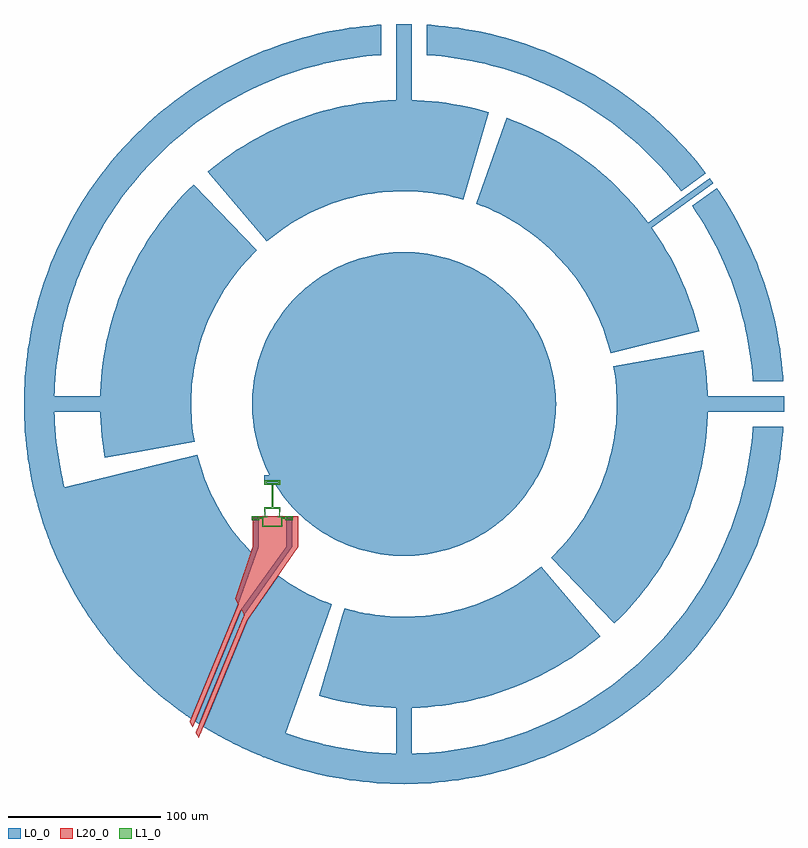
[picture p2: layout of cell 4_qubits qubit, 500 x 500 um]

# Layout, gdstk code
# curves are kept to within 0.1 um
import gdstk
lib = gdstk.Library(unit=1e-6, precision=1e-09)
def R(c, l, rs):  # rectangles x0, y0, x1, y1
    for r in rs: c.add(gdstk.rectangle(r[:2], r[2:], *l))
def P(c, l, *ps):  # polygons
    for p in ps: c.add(gdstk.Polygon(p, *l))
L0_0 = (0, 0)
L1_0 = (1, 0)
L20_0 = (20, 0)

c_4_qubits_qubit = lib.new_cell('4_qubits qubit')
R(c_4_qubits_qubit, L0_0, [(1950,1745,2000,1755), (1950,1745,2000,1755), (1745,1950,1755,2000), (1745,1950,1755,2000)])
P(c_4_qubits_qubit, L0_0, [(1948.666,1901.755),(1940.541,1911.847),(1931.499,1921.925),(1921.925,1931.499),(1911.847,1940.541),(1901.294,1949.023),(1890.297,1956.922),(1878.888,1964.214),(1867.102,1970.878),(1854.972,1976.894),(1842.535,1982.244),(1829.825,1986.913),(1816.882,1990.887),(1803.743,1994.155),(1790.445,1996.707),(1777.03,1998.534),(1765,1999.54),(1765,1979.501),(1774.867,1978.652),(1787.21,1976.97),(1799.443,1974.623),(1811.532,1971.616),(1823.439,1967.96),(1835.132,1963.665),(1846.574,1958.742),(1857.734,1953.208),(1868.577,1947.077),(1879.073,1940.368),(1889.19,1933.101),(1898.899,1925.297),(1908.171,1916.979),(1916.979,1908.171),(1925.297,1898.899),(1932.478,1889.994)],
  [(1662.229,1859.07),(1670.306,1865.104),(1675.923,1868.796),(1681.71,1872.215),(1690.682,1876.812),(1696.838,1879.514),(1706.296,1883.004),(1715.981,1885.804),(1722.538,1887.28),(1732.489,1888.901),(1739.176,1889.581),(1745.888,1889.94),(1755.97,1889.873),(1762.677,1889.425),(1772.677,1888.151),(1782.561,1886.161),(1789.059,1884.441),(1805.798,1942.059),(1796.515,1944.516),(1787.125,1946.524),(1782.396,1947.359),(1772.886,1948.686),(1763.323,1949.556),(1753.729,1949.965),(1744.126,1949.914),(1734.537,1949.401),(1724.984,1948.429),(1715.488,1947),(1706.072,1945.116),(1696.757,1942.783),(1687.565,1940.005),(1678.517,1936.789),(1669.634,1933.143),(1665.26,1931.161),(1656.662,1926.884),(1648.28,1922.2),(1644.175,1919.709),(1636.151,1914.434),(1628.39,1908.779),(1620.908,1902.759),(1659.636,1856.931)],
  [(1944.227,1797.707),(1943.026,1802.356),(1940.29,1811.56),(1937.116,1820.623),(1935.367,1825.095),(1931.548,1833.906),(1927.312,1842.523),(1922.666,1850.928),(1920.194,1855.044),(1917.623,1859.099),(1912.193,1867.019),(1909.337,1870.879),(1903.351,1878.388),(1897.012,1885.601),(1890.334,1892.501),(1886.872,1895.829),(1879.715,1902.23),(1876.023,1905.301),(1868.423,1911.171),(1860.551,1916.669),(1856.518,1919.275),(1848.27,1924.193),(1839.795,1928.709),(1831.114,1932.813),(1822.246,1936.496),(1817.748,1938.176),(1797.423,1881.723),(1806.78,1877.969),(1812.857,1875.096),(1821.696,1870.248),(1830.164,1864.777),(1835.581,1860.797),(1843.332,1854.351),(1848.234,1849.751),(1855.157,1842.423),(1859.472,1837.269),(1865.469,1829.164),(1869.135,1823.531),(1874.118,1814.766),(1877.084,1808.734),(1880.981,1799.436),(1883.203,1793.092),(1885.959,1783.395)],
  [(1953.43,1895.328),(1951.079,1898.564),(1951.066,1898.555),(1938.177,1889.19),(1910.628,1869.175),(1912.979,1865.939)],
  [(1999.348,1768.039),(1998.534,1777.03),(1997.397,1785.985),(1995.086,1799.326),(1993.145,1808.142),(1990.887,1816.882),(1988.316,1825.535),(1985.433,1834.09),(1980.536,1846.712),(1976.894,1854.972),(1972.956,1863.095),(1968.728,1871.071),(1964.214,1878.888),(1959.421,1886.538),(1955.715,1892.044),(1939.53,1880.285),(1942.668,1875.615),(1947.077,1868.577),(1951.23,1861.385),(1955.12,1854.048),(1958.742,1846.574),(1962.093,1838.975),(1965.167,1831.26),(1967.96,1823.439),(1971.616,1811.532),(1973.693,1803.491),(1975.479,1795.38),(1976.97,1787.21),(1978.166,1778.991),(1979.063,1770.735),(1979.501,1765),(1999.54,1765)],
  [(1891.854,1609.013),(1898.458,1615.984),(1901.632,1619.587),(1907.717,1627.015),(1913.439,1634.727),(1916.159,1638.684),(1921.311,1646.788),(1923.739,1650.93),(1928.294,1659.384),(1932.438,1668.046),(1934.353,1672.45),(1937.863,1681.388),(1940.939,1690.484),(1943.576,1699.718),(1945.767,1709.067),(1946.693,1713.779),(1948.205,1723.262),(1949.26,1732.806),(1949.615,1737.595),(1949.855,1742.39),(1949.99,1751.992),(1949.664,1761.589),(1948.878,1771.16),(1947.633,1780.681),(1946.839,1785.417),(1887.787,1774.792),(1888.819,1768.15),(1889.765,1758.113),(1889.986,1748.033),(1889.73,1741.316),(1889.153,1734.619),(1887.685,1724.645),(1886.309,1718.066),(1883.658,1708.339),(1880.313,1698.828),(1876.293,1689.583),(1871.617,1680.651),(1868.148,1674.894),(1864.407,1669.309),(1858.304,1661.285),(1851.639,1653.721),(1846.9,1648.954),(1888.429,1605.648)],
  [(1616.305,1550.182),(1612.58,1541.165),(1615.287,1539.412),(1645,1611.34),(1676.397,1656.25),(1676.397,1676.25),(1672.397,1676.25),(1672.397,1656.25),(1643,1614.804)],
  [(1612.874,1550.182),(1641,1618.268),(1654.397,1656.25),(1654.397,1676.25),(1650.397,1676.25),(1650.397,1656.25),(1649.255,1652.79),(1644.843,1657.577),(1640.528,1662.731),(1634.531,1670.836),(1630.865,1676.469),(1627.472,1682.273),(1622.916,1691.266),(1507.002,1691.266),(1510.359,1678.78),(1514.567,1665.91),(1519.464,1653.288),(1525.038,1640.948),(1531.201,1629.058),(1537.258,1618.695),(1543.806,1608.635),(1550.829,1598.901),(1559.459,1588.153),(1565.427,1581.38),(1571.635,1574.826),(1578.075,1568.501),(1583.335,1563.659),(1588.153,1559.459),(1595.138,1553.741),(1602.324,1548.278),(1609.888,1542.955)],
  [(1622.651,1691.858),(1620.243,1697.434),(1617.87,1703.722),(1615.801,1710.118),(1614.041,1716.605),(1526.648,1695.14),(1525.377,1700.557),(1523.739,1708.698),(1521.834,1721.009),(1520.6,1733.404),(1520.06,1745),(1550.076,1745),(1550.336,1738.411),(1551.122,1728.84),(1552.367,1719.319),(1553.161,1714.583),(1612.213,1725.208),(1611.181,1731.85),(1610.47,1738.535),(1610.007,1748.605),(1610.101,1755.327),(1610.847,1765.381),(1611.746,1772.042),(1612.963,1778.653),(1614.497,1785.197),(1616.342,1791.661),(1619.687,1801.172),(1622.293,1807.367),(1625.194,1813.431),(1628.383,1819.349),(1633.689,1827.921),(1637.563,1833.414),(1641.696,1838.715),(1570.768,1838.715),(1565.647,1827.55),(1562.137,1818.612),(1559.061,1809.516),(1556.424,1800.282),(1554.233,1790.933),(1552.494,1781.489),(1551.795,1776.738),(1550.74,1767.194),(1550.077,1755),(1520.06,1755),(1520.6,1766.596),(1521.834,1778.991),(1523.03,1787.21),(1525.377,1799.443),(1527.309,1807.52),(1530.749,1819.492),(1533.606,1827.921),(1537.801,1838.715),(1516.274,1838.715),(1513.087,1829.825),(1510.359,1821.22),(1507.944,1812.522),(1505.845,1803.743),(1504.064,1794.893),(1502.603,1785.985),(1501.018,1772.538),(1500.367,1763.535),(1500.041,1754.514),(1500.041,1745.486),(1500.367,1736.465),(1501.018,1727.462),(1501.994,1718.488),(1503.293,1709.555),(1504.914,1700.674),(1507.002,1691.266),(1622.916,1691.266)],
  [(1537.907,1838.975),(1543.035,1850.327),(1548.77,1861.385),(1552.923,1868.577),(1557.332,1875.615),(1564.415,1885.862),(1572.043,1895.71),(1577.42,1902.039),(1583.021,1908.171),(1591.829,1916.979),(1597.961,1922.58),(1604.29,1927.957),(1610.81,1933.101),(1617.511,1938.007),(1624.385,1942.668),(1635,1949.186),(1642.266,1953.208),(1649.673,1956.965),(1657.21,1960.452),(1664.868,1963.665),(1672.638,1966.599),(1680.508,1969.251),(1692.48,1972.691),(1700.557,1974.623),(1708.698,1976.261),(1716.894,1977.605),(1725.133,1978.652),(1735,1979.501),(1735,1999.54),(1722.97,1998.534),(1714.015,1997.397),(1705.107,1995.936),(1696.257,1994.155),(1687.478,1992.056),(1678.78,1989.641),(1665.91,1985.433),(1657.465,1982.244),(1649.141,1978.752),(1640.948,1974.962),(1632.898,1970.878),(1625,1966.506),(1617.265,1961.852),(1605.99,1954.356),(1598.706,1949.023),(1591.62,1943.431),(1581.38,1934.573),(1571.635,1925.174),(1562.413,1915.26),(1553.741,1904.862),(1545.644,1894.01),(1538.148,1882.735),(1531.272,1871.071),(1527.044,1863.095),(1521.248,1850.859),(1516.274,1838.715),(1537.801,1838.715)],
  [(1643.857,1841.289),(1648.361,1846.279),(1653.1,1851.046),(1611.571,1894.352),(1604.802,1887.541),(1601.542,1884.016),(1595.281,1876.735),(1589.376,1869.163),(1583.841,1861.316),(1578.689,1853.212),(1573.933,1844.87),(1570.768,1838.715),(1641.696,1838.715)],
  [(1751.441,1849.99),(1742.801,1849.741),(1734.214,1848.746),(1728.551,1847.673),(1722.96,1846.275),(1714.747,1843.58),(1709.414,1841.394),(1704.216,1838.904),(1696.71,1834.618),(1691.923,1831.407),(1687.33,1827.926),(1680.834,1822.223),(1676.788,1818.118),(1672.985,1813.787),(1667.765,1806.898),(1664.623,1802.065),(1661.765,1797.06),(1658.031,1789.265),(1655.922,1783.901),(1654.125,1778.425),(1652.028,1770.039),(1650.664,1761.503),(1650.166,1755.761),(1650,1750),(1650.166,1744.239),(1650.664,1738.497),(1651.492,1732.793),(1652.646,1727.146),(1654.125,1721.575),(1655.922,1716.099),(1658.031,1710.735),(1661.734,1703),(1658.147,1703),(1658.147,1697),(1665.212,1697),(1669.438,1690.756),(1672.985,1686.213),(1676.788,1681.882),(1682.944,1675.814),(1687.33,1672.074),(1694.293,1666.953),(1699.17,1663.882),(1704.216,1661.096),(1709.414,1658.606),(1714.747,1656.42),(1720.197,1654.544),(1725.746,1652.986),(1731.375,1651.75),(1737.066,1650.84),(1742.801,1650.259),(1748.559,1650.01),(1751.441,1650.01)],
  [(1754.322,1650.093),(1762.934,1650.84),(1771.449,1652.327),(1779.803,1654.544),(1785.253,1656.42),(1790.586,1658.606),(1795.784,1661.096),(1800.83,1663.882),(1808.077,1668.593),(1812.67,1672.074),(1817.056,1675.814),(1823.212,1681.882),(1827.015,1686.213),(1830.562,1690.756),(1835.377,1697.935),(1839.554,1705.502),(1843.062,1713.402),(1845.875,1721.575),(1847.972,1729.961),(1849.336,1738.497),(1849.834,1744.239),(1850,1750),(1849.834,1755.761),(1849.336,1761.503),(1847.972,1770.039),(1845.875,1778.425),(1844.078,1783.901),(1841.969,1789.265),(1838.235,1797.06),(1833.841,1804.504),(1830.562,1809.244),(1827.015,1813.787),(1821.218,1820.199),(1817.056,1824.186),(1812.67,1827.926),(1805.707,1833.047),(1798.327,1837.547),(1790.586,1841.394),(1785.253,1843.58),(1779.803,1845.456),(1771.449,1847.673),(1765.786,1848.746),(1760.071,1849.492),(1751.441,1849.99),(1751.441,1650.01)],
  [(1754.514,1500.041),(1768.039,1500.652),(1781.512,1501.994),(1794.893,1504.064),(1803.743,1505.845),(1811.284,1507.636),(1811.284,1528.318),(1803.491,1526.307),(1795.38,1524.521),(1783.106,1522.395),(1770.735,1520.937),(1762.452,1520.337),(1755,1520.06),(1755,1550.071),(1760.671,1550.285),(1770.245,1551.027),(1779.772,1552.228),(1784.512,1553),(1789.231,1553.885),(1798.599,1555.995),(1803.243,1557.217),(1811.284,1559.632),(1811.284,1624.136),(1806.256,1621.8),(1800.038,1619.248),(1793.704,1616.996),(1787.27,1615.052),(1780.749,1613.419),(1774.158,1612.1),(1767.511,1611.099),(1760.824,1610.419),(1754.112,1610.06),(1747.39,1610.024),(1737.323,1610.575),(1730.646,1611.344),(1724.013,1612.433),(1717.439,1613.839),(1710.941,1615.559),(1694.202,1557.941),(1703.485,1555.484),(1712.875,1553.476),(1717.604,1552.641),(1722.97,1551.841),(1731.89,1550.822),(1736.677,1550.444),(1745,1550.074),(1745,1520.06),(1737.548,1520.337),(1729.265,1520.937),(1716.894,1522.395),(1708.698,1523.739),(1700.557,1525.377),(1692.48,1527.309),(1684.477,1529.531),(1672.092,1533.602),(1702.577,1618.277),(1693.22,1622.031),(1684.158,1626.449),(1675.438,1631.508),(1667.19,1637.12),(1647,1607.876),(1618.007,1537.692),(1625,1533.494),(1632.898,1529.122),(1640.948,1525.038),(1649.141,1521.248),(1657.465,1517.756),(1665.91,1514.567),(1674.465,1511.684),(1683.118,1509.113),(1691.858,1506.855),(1700.674,1504.914),(1709.555,1503.293),(1718.488,1501.994),(1727.462,1501.018),(1736.465,1500.367),(1745.486,1500.041)],
  [(1812.522,1507.944),(1821.22,1510.359),(1829.825,1513.087),(1838.326,1516.123),(1846.712,1519.464),(1859.052,1525.038),(1867.102,1529.122),(1875,1533.494),(1882.735,1538.148),(1894.01,1545.644),(1901.294,1550.977),(1908.38,1556.569),(1915.26,1562.413),(1921.925,1568.501),(1931.499,1578.075),(1937.587,1584.74),(1943.431,1591.62),(1949.023,1598.706),(1954.356,1605.99),(1961.852,1617.265),(1966.506,1625),(1970.878,1632.898),(1974.962,1640.948),(1978.752,1649.141),(1982.244,1657.465),(1985.433,1665.91),(1989.641,1678.78),(1992.056,1687.478),(1994.155,1696.257),(1995.936,1705.107),(1997.397,1714.015),(1998.534,1722.97),(1999.54,1735),(1979.501,1735),(1978.652,1725.133),(1977.605,1716.894),(1976.261,1708.698),(1974.623,1700.557),(1971.86,1689.377),(1969.251,1680.508),(1966.599,1672.638),(1963.665,1664.868),(1960.452,1657.21),(1956.965,1649.673),(1953.208,1642.266),(1949.186,1635),(1942.668,1624.385),(1938.007,1617.511),(1933.101,1610.81),(1927.957,1604.29),(1922.58,1597.961),(1916.979,1591.829),(1911.16,1585.904),(1905.13,1580.193),(1898.899,1574.703),(1892.473,1569.441),(1885.862,1564.415),(1875.615,1557.332),(1868.577,1552.923),(1861.385,1548.77),(1854.048,1544.88),(1842.79,1539.548),(1835.132,1536.335),(1827.362,1533.401),(1819.492,1530.749),(1811.284,1528.318),(1811.284,1507.636)],
  [(1812.435,1559.995),(1821.483,1563.211),(1830.366,1566.857),(1839.064,1570.926),(1847.557,1575.407),(1855.825,1580.291),(1863.849,1585.566),(1871.61,1591.221),(1879.092,1597.241),(1840.364,1643.069),(1835.127,1638.854),(1826.908,1633.016),(1818.29,1627.785),(1811.284,1624.136),(1811.284,1559.632)],
  [(1948.666,1901.755),(1940.541,1911.847),(1931.499,1921.925),(1921.925,1931.499),(1911.847,1940.541),(1901.294,1949.023),(1890.297,1956.922),(1878.888,1964.214),(1867.102,1970.878),(1854.972,1976.894),(1842.535,1982.244),(1829.825,1986.913),(1816.882,1990.887),(1803.743,1994.155),(1790.445,1996.707),(1777.03,1998.534),(1765,1999.54),(1765,1979.501),(1774.867,1978.652),(1787.21,1976.97),(1799.443,1974.623),(1811.532,1971.616),(1823.439,1967.96),(1835.132,1963.665),(1846.574,1958.742),(1857.734,1953.208),(1868.577,1947.077),(1879.073,1940.368),(1889.19,1933.101),(1898.899,1925.297),(1908.171,1916.979),(1916.979,1908.171),(1925.297,1898.899),(1932.478,1889.994)],
  [(1662.229,1859.07),(1670.306,1865.104),(1675.923,1868.796),(1681.71,1872.215),(1690.682,1876.812),(1696.838,1879.514),(1706.296,1883.004),(1715.981,1885.804),(1722.538,1887.28),(1732.489,1888.901),(1739.176,1889.581),(1745.888,1889.94),(1755.97,1889.873),(1762.677,1889.425),(1772.677,1888.151),(1782.561,1886.161),(1789.059,1884.441),(1805.798,1942.059),(1796.515,1944.516),(1787.125,1946.524),(1782.396,1947.359),(1772.886,1948.686),(1763.323,1949.556),(1753.729,1949.965),(1744.126,1949.914),(1734.537,1949.401),(1724.984,1948.429),(1715.488,1947),(1706.072,1945.116),(1696.757,1942.783),(1687.565,1940.005),(1678.517,1936.789),(1669.634,1933.143),(1665.26,1931.161),(1656.662,1926.884),(1648.28,1922.2),(1644.175,1919.709),(1636.151,1914.434),(1628.39,1908.779),(1620.908,1902.759),(1659.636,1856.931)],
  [(1944.227,1797.707),(1943.026,1802.356),(1940.29,1811.56),(1937.116,1820.623),(1935.367,1825.095),(1931.548,1833.906),(1927.312,1842.523),(1922.666,1850.928),(1920.194,1855.044),(1917.623,1859.099),(1912.193,1867.019),(1909.337,1870.879),(1903.351,1878.388),(1897.012,1885.601),(1890.334,1892.501),(1886.872,1895.829),(1879.715,1902.23),(1876.023,1905.301),(1868.423,1911.171),(1860.551,1916.669),(1856.518,1919.275),(1848.27,1924.193),(1839.795,1928.709),(1831.114,1932.813),(1822.246,1936.496),(1817.748,1938.176),(1797.423,1881.723),(1806.78,1877.969),(1812.857,1875.096),(1821.696,1870.248),(1830.164,1864.777),(1835.581,1860.797),(1843.332,1854.351),(1848.234,1849.751),(1855.157,1842.423),(1859.472,1837.269),(1865.469,1829.164),(1869.135,1823.531),(1874.118,1814.766),(1877.084,1808.734),(1880.981,1799.436),(1883.203,1793.092),(1885.959,1783.395)],
  [(1953.43,1895.328),(1951.079,1898.564),(1951.066,1898.555),(1938.177,1889.19),(1910.628,1869.175),(1912.979,1865.939)],
  [(1999.348,1768.039),(1998.534,1777.03),(1997.397,1785.985),(1995.086,1799.326),(1993.145,1808.142),(1990.887,1816.882),(1988.316,1825.535),(1985.433,1834.09),(1980.536,1846.712),(1976.894,1854.972),(1972.956,1863.095),(1968.728,1871.071),(1964.214,1878.888),(1959.421,1886.538),(1955.715,1892.044),(1939.53,1880.285),(1942.668,1875.615),(1947.077,1868.577),(1951.23,1861.385),(1955.12,1854.048),(1958.742,1846.574),(1962.093,1838.975),(1965.167,1831.26),(1967.96,1823.439),(1971.616,1811.532),(1973.693,1803.491),(1975.479,1795.38),(1976.97,1787.21),(1978.166,1778.991),(1979.063,1770.735),(1979.501,1765),(1999.54,1765)],
  [(1891.854,1609.013),(1898.458,1615.984),(1901.632,1619.587),(1907.717,1627.015),(1913.439,1634.727),(1916.159,1638.684),(1921.311,1646.788),(1923.739,1650.93),(1928.294,1659.384),(1932.438,1668.046),(1934.353,1672.45),(1937.863,1681.388),(1940.939,1690.484),(1943.576,1699.718),(1945.767,1709.067),(1946.693,1713.779),(1948.205,1723.262),(1949.26,1732.806),(1949.615,1737.595),(1949.855,1742.39),(1949.99,1751.992),(1949.664,1761.589),(1948.878,1771.16),(1947.633,1780.681),(1946.839,1785.417),(1887.787,1774.792),(1888.819,1768.15),(1889.765,1758.113),(1889.986,1748.033),(1889.73,1741.316),(1889.153,1734.619),(1887.685,1724.645),(1886.309,1718.066),(1883.658,1708.339),(1880.313,1698.828),(1876.293,1689.583),(1871.617,1680.651),(1868.148,1674.894),(1864.407,1669.309),(1858.304,1661.285),(1851.639,1653.721),(1846.9,1648.954),(1888.429,1605.648)],
  [(1616.305,1550.182),(1612.58,1541.165),(1615.287,1539.412),(1645,1611.34),(1676.397,1656.25),(1676.397,1676.25),(1672.397,1676.25),(1672.397,1656.25),(1643,1614.804)],
  [(1612.874,1550.182),(1641,1618.268),(1654.397,1656.25),(1654.397,1676.25),(1650.397,1676.25),(1650.397,1656.25),(1649.255,1652.79),(1644.843,1657.577),(1640.528,1662.731),(1634.531,1670.836),(1630.865,1676.469),(1627.472,1682.273),(1622.916,1691.266),(1507.002,1691.266),(1510.359,1678.78),(1514.567,1665.91),(1519.464,1653.288),(1525.038,1640.948),(1531.201,1629.058),(1537.258,1618.695),(1543.806,1608.635),(1550.829,1598.901),(1559.459,1588.153),(1565.427,1581.38),(1571.635,1574.826),(1578.075,1568.501),(1583.335,1563.659),(1588.153,1559.459),(1595.138,1553.741),(1602.324,1548.278),(1609.888,1542.955)],
  [(1622.651,1691.858),(1620.243,1697.434),(1617.87,1703.722),(1615.801,1710.118),(1614.041,1716.605),(1526.648,1695.14),(1525.377,1700.557),(1523.739,1708.698),(1521.834,1721.009),(1520.6,1733.404),(1520.06,1745),(1550.076,1745),(1550.336,1738.411),(1551.122,1728.84),(1552.367,1719.319),(1553.161,1714.583),(1612.213,1725.208),(1611.181,1731.85),(1610.47,1738.535),(1610.007,1748.605),(1610.101,1755.327),(1610.847,1765.381),(1611.746,1772.042),(1612.963,1778.653),(1614.497,1785.197),(1616.342,1791.661),(1619.687,1801.172),(1622.293,1807.367),(1625.194,1813.431),(1628.383,1819.349),(1633.689,1827.921),(1637.563,1833.414),(1641.696,1838.715),(1570.768,1838.715),(1565.647,1827.55),(1562.137,1818.612),(1559.061,1809.516),(1556.424,1800.282),(1554.233,1790.933),(1552.494,1781.489),(1551.795,1776.738),(1550.74,1767.194),(1550.077,1755),(1520.06,1755),(1520.6,1766.596),(1521.834,1778.991),(1523.03,1787.21),(1525.377,1799.443),(1527.309,1807.52),(1530.749,1819.492),(1533.606,1827.921),(1537.801,1838.715),(1516.274,1838.715),(1513.087,1829.825),(1510.359,1821.22),(1507.944,1812.522),(1505.845,1803.743),(1504.064,1794.893),(1502.603,1785.985),(1501.018,1772.538),(1500.367,1763.535),(1500.041,1754.514),(1500.041,1745.486),(1500.367,1736.465),(1501.018,1727.462),(1501.994,1718.488),(1503.293,1709.555),(1504.914,1700.674),(1507.002,1691.266),(1622.916,1691.266)],
  [(1537.907,1838.975),(1543.035,1850.327),(1548.77,1861.385),(1552.923,1868.577),(1557.332,1875.615),(1564.415,1885.862),(1572.043,1895.71),(1577.42,1902.039),(1583.021,1908.171),(1591.829,1916.979),(1597.961,1922.58),(1604.29,1927.957),(1610.81,1933.101),(1617.511,1938.007),(1624.385,1942.668),(1635,1949.186),(1642.266,1953.208),(1649.673,1956.965),(1657.21,1960.452),(1664.868,1963.665),(1672.638,1966.599),(1680.508,1969.251),(1692.48,1972.691),(1700.557,1974.623),(1708.698,1976.261),(1716.894,1977.605),(1725.133,1978.652),(1735,1979.501),(1735,1999.54),(1722.97,1998.534),(1714.015,1997.397),(1705.107,1995.936),(1696.257,1994.155),(1687.478,1992.056),(1678.78,1989.641),(1665.91,1985.433),(1657.465,1982.244),(1649.141,1978.752),(1640.948,1974.962),(1632.898,1970.878),(1625,1966.506),(1617.265,1961.852),(1605.99,1954.356),(1598.706,1949.023),(1591.62,1943.431),(1581.38,1934.573),(1571.635,1925.174),(1562.413,1915.26),(1553.741,1904.862),(1545.644,1894.01),(1538.148,1882.735),(1531.272,1871.071),(1527.044,1863.095),(1521.248,1850.859),(1516.274,1838.715),(1537.801,1838.715)],
  [(1643.857,1841.289),(1648.361,1846.279),(1653.1,1851.046),(1611.571,1894.352),(1604.802,1887.541),(1601.542,1884.016),(1595.281,1876.735),(1589.376,1869.163),(1583.841,1861.316),(1578.689,1853.212),(1573.933,1844.87),(1570.768,1838.715),(1641.696,1838.715)],
  [(1751.441,1849.99),(1742.801,1849.741),(1734.214,1848.746),(1728.551,1847.673),(1722.96,1846.275),(1714.747,1843.58),(1709.414,1841.394),(1704.216,1838.904),(1696.71,1834.618),(1691.923,1831.407),(1687.33,1827.926),(1680.834,1822.223),(1676.788,1818.118),(1672.985,1813.787),(1667.765,1806.898),(1664.623,1802.065),(1661.765,1797.06),(1658.031,1789.265),(1655.922,1783.901),(1654.125,1778.425),(1652.028,1770.039),(1650.664,1761.503),(1650.166,1755.761),(1650,1750),(1650.166,1744.239),(1650.664,1738.497),(1651.492,1732.793),(1652.646,1727.146),(1654.125,1721.575),(1655.922,1716.099),(1658.031,1710.735),(1661.734,1703),(1658.147,1703),(1658.147,1697),(1665.212,1697),(1669.438,1690.756),(1672.985,1686.213),(1676.788,1681.882),(1682.944,1675.814),(1687.33,1672.074),(1694.293,1666.953),(1699.17,1663.882),(1704.216,1661.096),(1709.414,1658.606),(1714.747,1656.42),(1720.197,1654.544),(1725.746,1652.986),(1731.375,1651.75),(1737.066,1650.84),(1742.801,1650.259),(1748.559,1650.01),(1751.441,1650.01)],
  [(1754.322,1650.093),(1762.934,1650.84),(1771.449,1652.327),(1779.803,1654.544),(1785.253,1656.42),(1790.586,1658.606),(1795.784,1661.096),(1800.83,1663.882),(1808.077,1668.593),(1812.67,1672.074),(1817.056,1675.814),(1823.212,1681.882),(1827.015,1686.213),(1830.562,1690.756),(1835.377,1697.935),(1839.554,1705.502),(1843.062,1713.402),(1845.875,1721.575),(1847.972,1729.961),(1849.336,1738.497),(1849.834,1744.239),(1850,1750),(1849.834,1755.761),(1849.336,1761.503),(1847.972,1770.039),(1845.875,1778.425),(1844.078,1783.901),(1841.969,1789.265),(1838.235,1797.06),(1833.841,1804.504),(1830.562,1809.244),(1827.015,1813.787),(1821.218,1820.199),(1817.056,1824.186),(1812.67,1827.926),(1805.707,1833.047),(1798.327,1837.547),(1790.586,1841.394),(1785.253,1843.58),(1779.803,1845.456),(1771.449,1847.673),(1765.786,1848.746),(1760.071,1849.492),(1751.441,1849.99),(1751.441,1650.01)],
  [(1754.514,1500.041),(1768.039,1500.652),(1781.512,1501.994),(1794.893,1504.064),(1803.743,1505.845),(1811.284,1507.636),(1811.284,1528.318),(1803.491,1526.307),(1795.38,1524.521),(1783.106,1522.395),(1770.735,1520.937),(1762.452,1520.337),(1755,1520.06),(1755,1550.071),(1760.671,1550.285),(1770.245,1551.027),(1779.772,1552.228),(1784.512,1553),(1789.231,1553.885),(1798.599,1555.995),(1803.243,1557.217),(1811.284,1559.632),(1811.284,1624.136),(1806.256,1621.8),(1800.038,1619.248),(1793.704,1616.996),(1787.27,1615.052),(1780.749,1613.419),(1774.158,1612.1),(1767.511,1611.099),(1760.824,1610.419),(1754.112,1610.06),(1747.39,1610.024),(1737.323,1610.575),(1730.646,1611.344),(1724.013,1612.433),(1717.439,1613.839),(1710.941,1615.559),(1694.202,1557.941),(1703.485,1555.484),(1712.875,1553.476),(1717.604,1552.641),(1722.97,1551.841),(1731.89,1550.822),(1736.677,1550.444),(1745,1550.074),(1745,1520.06),(1737.548,1520.337),(1729.265,1520.937),(1716.894,1522.395),(1708.698,1523.739),(1700.557,1525.377),(1692.48,1527.309),(1684.477,1529.531),(1672.092,1533.602),(1702.577,1618.277),(1693.22,1622.031),(1684.158,1626.449),(1675.438,1631.508),(1667.19,1637.12),(1647,1607.876),(1618.007,1537.692),(1625,1533.494),(1632.898,1529.122),(1640.948,1525.038),(1649.141,1521.248),(1657.465,1517.756),(1665.91,1514.567),(1674.465,1511.684),(1683.118,1509.113),(1691.858,1506.855),(1700.674,1504.914),(1709.555,1503.293),(1718.488,1501.994),(1727.462,1501.018),(1736.465,1500.367),(1745.486,1500.041)],
  [(1812.522,1507.944),(1821.22,1510.359),(1829.825,1513.087),(1838.326,1516.123),(1846.712,1519.464),(1859.052,1525.038),(1867.102,1529.122),(1875,1533.494),(1882.735,1538.148),(1894.01,1545.644),(1901.294,1550.977),(1908.38,1556.569),(1915.26,1562.413),(1921.925,1568.501),(1931.499,1578.075),(1937.587,1584.74),(1943.431,1591.62),(1949.023,1598.706),(1954.356,1605.99),(1961.852,1617.265),(1966.506,1625),(1970.878,1632.898),(1974.962,1640.948),(1978.752,1649.141),(1982.244,1657.465),(1985.433,1665.91),(1989.641,1678.78),(1992.056,1687.478),(1994.155,1696.257),(1995.936,1705.107),(1997.397,1714.015),(1998.534,1722.97),(1999.54,1735),(1979.501,1735),(1978.652,1725.133),(1977.605,1716.894),(1976.261,1708.698),(1974.623,1700.557),(1971.86,1689.377),(1969.251,1680.508),(1966.599,1672.638),(1963.665,1664.868),(1960.452,1657.21),(1956.965,1649.673),(1953.208,1642.266),(1949.186,1635),(1942.668,1624.385),(1938.007,1617.511),(1933.101,1610.81),(1927.957,1604.29),(1922.58,1597.961),(1916.979,1591.829),(1911.16,1585.904),(1905.13,1580.193),(1898.899,1574.703),(1892.473,1569.441),(1885.862,1564.415),(1875.615,1557.332),(1868.577,1552.923),(1861.385,1548.77),(1854.048,1544.88),(1842.79,1539.548),(1835.132,1536.335),(1827.362,1533.401),(1819.492,1530.749),(1811.284,1528.318),(1811.284,1507.636)],
  [(1812.435,1559.995),(1821.483,1563.211),(1830.366,1566.857),(1839.064,1570.926),(1847.557,1575.407),(1855.825,1580.291),(1863.849,1585.566),(1871.61,1591.221),(1879.092,1597.241),(1840.364,1643.069),(1835.127,1638.854),(1826.908,1633.016),(1818.29,1627.785),(1811.284,1624.136),(1811.284,1559.632)])
P(c_4_qubits_qubit, L1_0, [(1658.047,1679.25),(1658.397,1679.25),(1658.397,1676.25),(1658.847,1676.25),(1658.847,1681.25),(1667.947,1681.25),(1667.947,1676.25),(1668.397,1676.25),(1668.397,1679.25),(1668.747,1679.25),(1668.747,1682),(1663.897,1682),(1663.897,1697),(1668.647,1697),(1668.647,1700),(1658.147,1700),(1658.147,1698),(1659.647,1698),(1659.647,1699),(1667.147,1699),(1667.147,1698),(1659.647,1698),(1658.147,1698),(1658.147,1697),(1662.897,1697),(1662.897,1682),(1658.047,1682)],
  [(1666.897,1675.75),(1666.897,1675.507),(1669.397,1675.507),(1669.397,1669.95),(1657.397,1669.95),(1657.397,1675.507),(1659.897,1675.507),(1659.897,1675.75),(1656.897,1675.75),(1656.897,1675.35),(1654.797,1675.35),(1654.797,1676.25),(1649.997,1676.25),(1649.997,1674.35),(1651.397,1674.35),(1651.397,1675.35),(1653.397,1675.35),(1653.397,1674.35),(1651.397,1674.35),(1649.997,1674.35),(1649.997,1673.45),(1654.797,1673.45),(1654.797,1674.35),(1656.897,1674.35),(1656.897,1669.35),(1669.897,1669.35),(1669.897,1674.35),(1673.397,1674.35),(1673.397,1675.35),(1675.397,1675.35),(1675.397,1674.35),(1673.397,1674.35),(1669.897,1674.35),(1671.997,1674.35),(1671.997,1673.45),(1676.797,1673.45),(1676.797,1676.25),(1671.997,1676.25),(1671.997,1675.35),(1669.897,1675.35),(1669.897,1675.75)],
  [(1658.047,1679.25),(1658.397,1679.25),(1658.397,1676.25),(1658.847,1676.25),(1658.847,1681.25),(1667.947,1681.25),(1667.947,1676.25),(1668.397,1676.25),(1668.397,1679.25),(1668.747,1679.25),(1668.747,1682),(1663.897,1682),(1663.897,1697),(1668.647,1697),(1668.647,1700),(1658.147,1700),(1658.147,1698),(1659.647,1698),(1659.647,1699),(1667.147,1699),(1667.147,1698),(1659.647,1698),(1658.147,1698),(1658.147,1697),(1662.897,1697),(1662.897,1682),(1658.047,1682)],
  [(1666.897,1675.75),(1666.897,1675.507),(1669.397,1675.507),(1669.397,1669.95),(1657.397,1669.95),(1657.397,1675.507),(1659.897,1675.507),(1659.897,1675.75),(1656.897,1675.75),(1656.897,1675.35),(1654.797,1675.35),(1654.797,1676.25),(1649.997,1676.25),(1649.997,1674.35),(1651.397,1674.35),(1651.397,1675.35),(1653.397,1675.35),(1653.397,1674.35),(1651.397,1674.35),(1649.997,1674.35),(1649.997,1673.45),(1654.797,1673.45),(1654.797,1674.35),(1656.897,1674.35),(1656.897,1669.35),(1669.897,1669.35),(1669.897,1674.35),(1673.397,1674.35),(1673.397,1675.35),(1675.397,1675.35),(1675.397,1674.35),(1673.397,1674.35),(1669.897,1674.35),(1671.997,1674.35),(1671.997,1673.45),(1676.797,1673.45),(1676.797,1676.25),(1671.997,1676.25),(1671.997,1675.35),(1669.897,1675.35),(1669.897,1675.75)])
P(c_4_qubits_qubit, L20_0, [(1615,1530.412),(1647,1607.876),(1680.397,1656.25),(1680.397,1676.25),(1650.397,1676.25),(1650.397,1656.25),(1639,1621.732),(1641,1618.268),(1609,1540.804),(1611,1537.34),(1643,1614.804),(1645,1611.34),(1613,1533.876)],
  [(1615,1530.412),(1647,1607.876),(1680.397,1656.25),(1680.397,1676.25),(1650.397,1676.25),(1650.397,1656.25),(1639,1621.732),(1641,1618.268),(1609,1540.804),(1611,1537.34),(1643,1614.804),(1645,1611.34),(1613,1533.876)])

lib.write_gds('4_qubits_qubit.gds')
